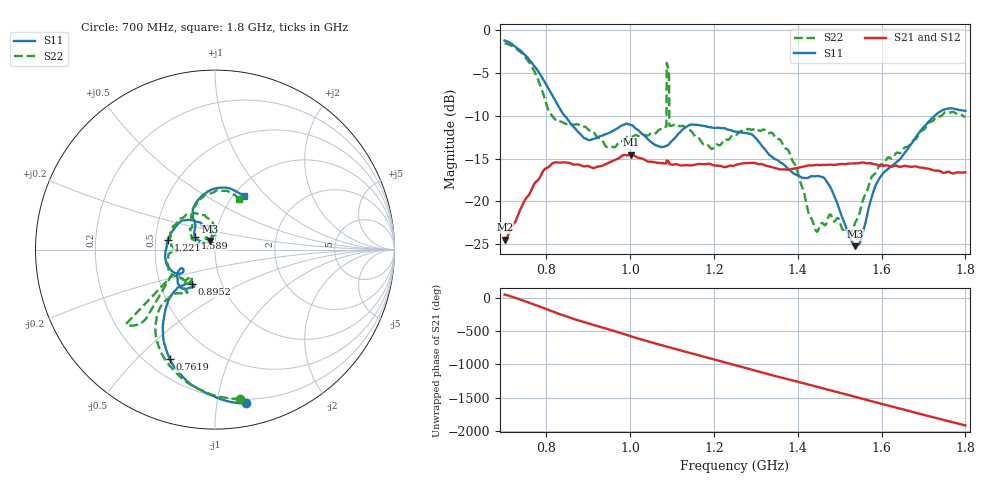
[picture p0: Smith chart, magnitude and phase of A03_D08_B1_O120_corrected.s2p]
! Created with skrf 1.9.0 (http://scikit-rf.org).
# Hz S RI R 50.0
!freq ReS11 ImS11 ReS21 ImS21 ReS12 ImS12 ReS22 ImS22
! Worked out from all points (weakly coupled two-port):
!   1601 points, 700 MHz to 1.8 GHz, reference 50 ohm
!   highest |S21| = -14.51 dB at 1.002 GHz (marker M1); lowest = -24.5 dB at 700.7 MHz (marker M2)
!   lowest |S11| = -25.2 dB at 1.537 GHz (marker M3), VSWR 1.12, Z = 47.3 + j4.62 ohm
!   |S11| at or under -10 dB: 843.7 MHz to 1.726 GHz (882.4 MHz wide, 68.7 % of centre)
!   |S22| runs from -23.7 to -1.5 dB; largest |S21 - S12| = 0.0037
!   S11 on the Smith chart (normalised r, x): 700 MHz: 0.17, -1.21; 761.9 MHz: 0.29, -0.63; 895.2 MHz: 0.72, -0.29; 1.221 GHz: 0.58, +0.07; 1.589 GHz: 0.80, +0.11; 1.8 GHz: 1.12, +0.75
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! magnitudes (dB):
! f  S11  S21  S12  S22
! 700 MHz  -1.2  -24.5  -24.2  -1.5
! 700.7 MHz  -1.2  -24.5  -24.1  -1.5
! 761.9 MHz  -3.6  -18.9  -18.8  -4.0
! 817.6 MHz  -7.9  -15.5  -15.6  -10.2
! 883.6 MHz  -12.3  -15.8  -15.7  -11.2
! 895.2 MHz  -12.7  -15.9  -16.0  -11.4
! 1.002 GHz  -11.1  -14.5  -14.6  -12.5
! 1.067 GHz  -13.5  -15.5  -15.4  -11.7
! 1.081 GHz  -13.6  -15.5  -15.6  -11.5
! 1.087 GHz  -13.5  -15.2  -15.2  -3.8
! 1.093 GHz  -13.3  -15.4  -15.4  -5.3
! 1.099 GHz  -12.9  -15.7  -15.7  -11.2
! 1.221 GHz  -11.4  -15.9  -16.0  -13.0
! 1.25 GHz  -11.8  -15.8  -15.7  -12.2
! 1.358 GHz  -15.4  -16.2  -16.2  -12.8
! 1.434 GHz  -17.0  -15.8  -15.8  -22.1
! 1.473 GHz  -17.9  -15.7  -15.7  -21.8
! 1.537 GHz  -25.2  -15.5  -15.6  -22.5
! 1.589 GHz  -17.8  -15.7  -15.7  -16.4
! 1.617 GHz  -16.1  -15.8  -15.8  -14.8
! 1.734 GHz  -9.7  -16.4  -16.4  -10.0
! 1.8 GHz  -9.4  -16.6  -16.6  -10.1
